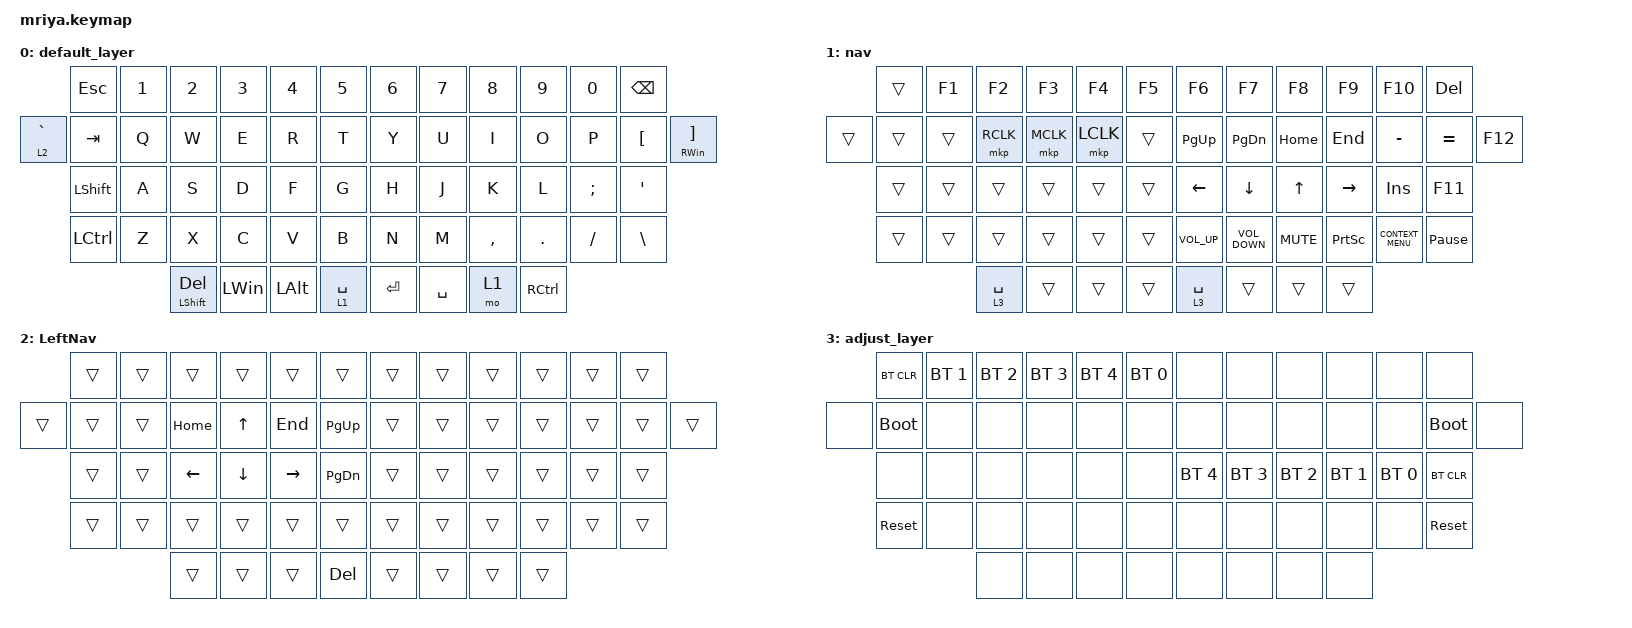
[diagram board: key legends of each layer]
/*
 * Copyright (c) 2023 Andrei Gaevskii
 *
 * SPDX-License-Identifier: MIT
 */

#include <behaviors.dtsi>
#include <dt-bindings/zmk/bt.h>
#include <dt-bindings/zmk/keys.h>
#include <dt-bindings/zmk/mouse.h>

#define DEF 0
#define LWR 1
#define RSE 2
#define ADJ 3

&lt { quick_tap_ms = <180>; };

&mt { quick_tap_ms = <180>; };

/ {
    keymap {
        compatible = "zmk,keymap";

        default_layer {
            bindings = <
             &kp ESC         &kp N1  &kp N2              &kp N3    &kp N4    &kp N5         &kp N6     &kp N7     &kp N8     &kp N9     &kp N0    &kp BACKSPACE
&lt 2 GRAVE  &kp TAB         &kp Q   &kp W               &kp E     &kp R     &kp T          &kp Y      &kp U      &kp I      &kp O      &kp P     &kp LBKT       &mt RIGHT_WIN RIGHT_BRACKET
             &kp LEFT_SHIFT  &kp A   &kp S               &kp D     &kp F     &kp G          &kp H      &kp J      &kp K      &kp L      &kp SEMI  &kp APOS
             &kp LCTRL       &kp Z   &kp X               &kp C     &kp V     &kp B          &kp N      &kp M      &kp COMMA  &kp DOT    &kp FSLH  &kp BACKSLASH
                                     &mt LEFT_SHIFT DEL  &kp LWIN  &kp LALT  &lt 1 SPACE    &kp ENTER  &kp SPACE  &mo 1      &kp RCTRL
            >;
        };

        nav {
            bindings = <
        &trans  &kp F1  &kp F2       &kp F3     &kp F4     &kp F5    &kp F6           &kp F7             &kp F8        &kp F9           &kp F10             &kp DEL
&trans  &trans  &trans  &mkp RCLK    &mkp MCLK  &mkp LCLK  &trans    &kp PAGE_UP      &kp PAGE_DOWN      &kp HOME      &kp END          &kp MINUS           &kp EQUAL        &kp F12
        &trans  &trans  &trans       &trans     &trans     &trans    &kp LEFT_ARROW   &kp DOWN_ARROW     &kp UP_ARROW  &kp RIGHT        &kp INS             &kp F11
        &trans  &trans  &trans       &trans     &trans     &trans    &kp C_VOLUME_UP  &kp C_VOLUME_DOWN  &kp K_MUTE    &kp PRINTSCREEN  &kp K_CONTEXT_MENU  &kp PAUSE_BREAK
                        &lt 3 SPACE  &trans     &trans     &trans    &lt 3 SPACE      &trans             &trans        &trans
            >;
        };

        LeftNav {
            bindings = <
        &trans  &trans  &trans    &trans        &trans     &trans        &trans  &trans  &trans  &trans  &trans  &trans
&trans  &trans  &trans  &kp HOME  &kp UP_ARROW  &kp END    &kp PG_UP     &trans  &trans  &trans  &trans  &trans  &trans  &trans
        &trans  &trans  &kp LEFT  &kp DOWN      &kp RIGHT  &kp PG_DN     &trans  &trans  &trans  &trans  &trans  &trans
        &trans  &trans  &trans    &trans        &trans     &trans        &trans  &trans  &trans  &trans  &trans  &trans
                        &trans    &trans        &trans     &kp DELETE    &trans  &trans  &trans  &trans
            >;
        };

        adjust_layer {
            bindings = <
       &bt BT_CLR   &bt BT_SEL 1  &bt BT_SEL 2  &bt BT_SEL 3  &bt BT_SEL 4  &bt BT_SEL 0    &none         &none         &none         &none         &none         &none
&none  &bootloader  &none         &none         &none         &none         &none           &none         &none         &none         &none         &none         &bootloader  &none
       &none        &none         &none         &none         &none         &none           &bt BT_SEL 4  &bt BT_SEL 3  &bt BT_SEL 2  &bt BT_SEL 1  &bt BT_SEL 0  &bt BT_CLR
       &sys_reset   &none         &none         &none         &none         &none           &none         &none         &none         &none         &none         &sys_reset
                                  &none         &none         &none         &none           &none         &none         &none         &none
            >;
        };
    };
};
